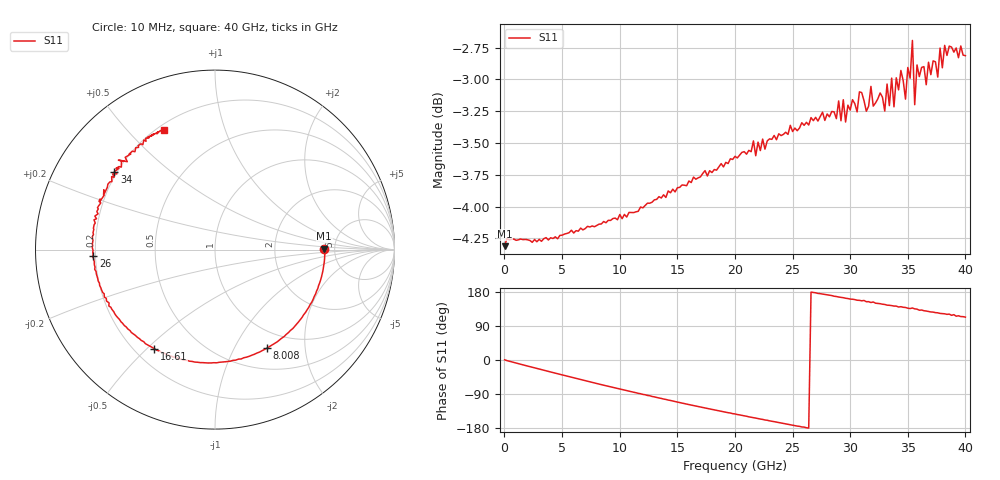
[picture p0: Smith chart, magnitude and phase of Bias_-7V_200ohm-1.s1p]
!Agilent Technologies,N5227A,US51270434,A.10.00.00
!Agilent N5227A: A.10.00.00
!Date: Monday, March 30, 2026 11:36:15
!Correction: S11(Full 1 Port(1))
!S1P File: Measurement: S11:
# Hz S  dB  R 50
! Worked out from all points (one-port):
!   201 points, 10 MHz to 40 GHz, reference 50 ohm
!   lowest |S11| = -4.3 dB at 10 MHz (marker M1), VSWR 4.11, Z = 206 + j3.82 ohm
!   |S11| at or under -10 dB: nowhere
!   S11 on the Smith chart (normalised r, x): 10 MHz: 4.11, +0.08; 8.008 GHz: 0.77, -1.37; 16.61 GHz: 0.28, -0.53; 26 GHz: 0.19, -0.02; 34 GHz: 0.19, +0.33; 40 GHz: 0.23, +0.64
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1e7  -4.31 0.5
2.60935e9  -4.26 -20.7
5.00875e9  -4.22 -39.3
8.008e9  -4.15 -62.0
1.00075e10  -4.06 -76.5
1.24069e10  -3.97 -93.6
1.500625e10  -3.85 -111.0
1.660585e10  -3.78 -121.4
2.0005e10  -3.60 -142.3
2.24044e10  -3.47 -156.8
2.500375e10  -3.41 -171.8
2.60035e10  -3.36 -177.1
3.00025e10  -3.24 160.8
3.12022e10  -3.17 157.1
3.40015e10  -2.99 142.2
3.48013e10  -3.15 138.6
3.500125e10  -2.91 136.8
3.52012e10  -2.99 135.8
3.540115e10  -2.69 137.2
3.56011e10  -3.20 134.9
3.580105e10  -2.89 134.2
3.6001e10  -2.98 131.4
3.780055e10  -2.75 122.9
3.860035e10  -2.74 121.0
3.88003e10  -2.75 117.9
3.900025e10  -2.78 119.7
3.92002e10  -2.75 115.6
4e10  -2.81 113.1
